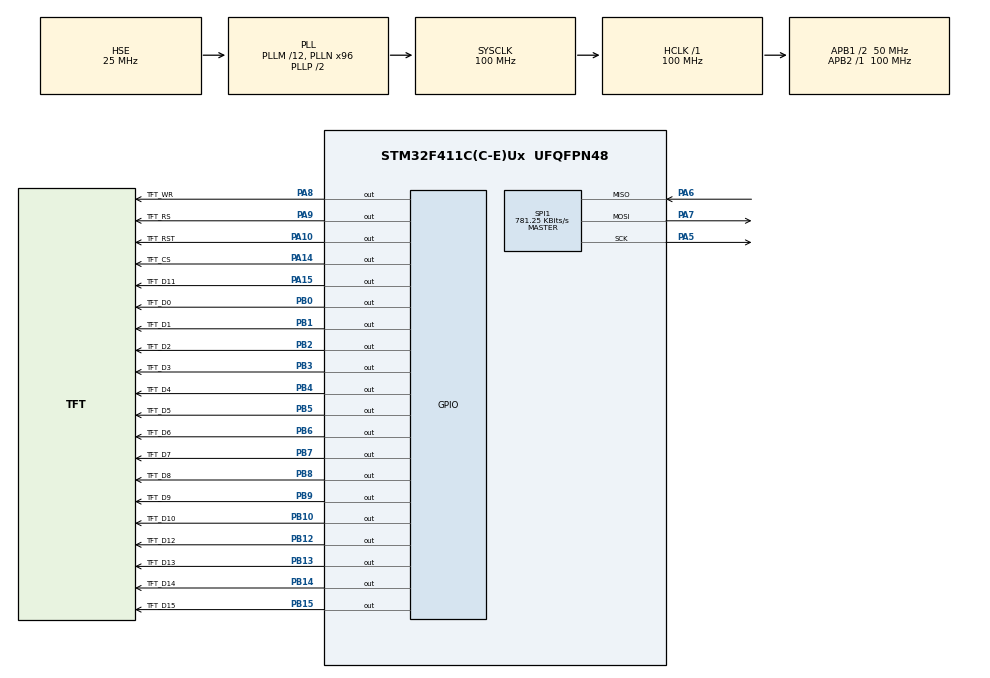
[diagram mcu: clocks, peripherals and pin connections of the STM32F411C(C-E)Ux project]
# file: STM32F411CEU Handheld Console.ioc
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Mcu.Family=STM32F4
Mcu.Name=STM32F411C(C-E)Ux
Mcu.Package=UFQFPN48
NVIC.PriorityGroup=NVIC_PRIORITYGROUP_4
PA10.GPIO_Label=TFT_RST
PA10.GPIO_PuPd=GPIO_PULLDOWN
PA10.GPIO_Speed=GPIO_SPEED_FREQ_MEDIUM
PA10.Signal=GPIO_Output
PA14.GPIO_Label=TFT_CS
PA14.GPIO_PuPd=GPIO_PULLDOWN
PA14.GPIO_Speed=GPIO_SPEED_FREQ_VERY_HIGH
PA14.Signal=GPIO_Output
PA15.GPIO_Label=TFT_D11
PA15.GPIO_PuPd=GPIO_PULLDOWN
PA15.GPIO_Speed=GPIO_SPEED_FREQ_VERY_HIGH
PA15.Signal=GPIO_Output
PA5.Mode=Full_Duplex_Master
PA5.Signal=SPI1_SCK
PA6.Mode=Full_Duplex_Master
PA6.Signal=SPI1_MISO
PA7.Mode=Full_Duplex_Master
PA7.Signal=SPI1_MOSI
PA8.GPIO_Label=TFT_WR
PA8.GPIO_PuPd=GPIO_PULLDOWN
PA8.GPIO_Speed=GPIO_SPEED_FREQ_MEDIUM
PA8.Signal=GPIO_Output
PA9.GPIO_Label=TFT_RS
PA9.GPIO_PuPd=GPIO_PULLDOWN
PA9.GPIO_Speed=GPIO_SPEED_FREQ_VERY_HIGH
PA9.Signal=GPIO_Output
PB0.GPIO_Label=TFT_D0
PB0.GPIO_PuPd=GPIO_PULLDOWN
PB0.GPIO_Speed=GPIO_SPEED_FREQ_VERY_HIGH
PB0.Signal=GPIO_Output
PB1.GPIO_Label=TFT_D1
PB1.GPIO_PuPd=GPIO_PULLDOWN
PB1.GPIO_Speed=GPIO_SPEED_FREQ_VERY_HIGH
PB1.Signal=GPIO_Output
PB10.GPIO_Label=TFT_D10
PB10.GPIO_PuPd=GPIO_PULLDOWN
PB10.GPIO_Speed=GPIO_SPEED_FREQ_VERY_HIGH
PB10.Signal=GPIO_Output
PB12.GPIO_Label=TFT_D12
PB12.GPIO_PuPd=GPIO_PULLDOWN
PB12.GPIO_Speed=GPIO_SPEED_FREQ_VERY_HIGH
PB12.Signal=GPIO_Output
PB13.GPIO_Label=TFT_D13
PB13.GPIO_PuPd=GPIO_PULLDOWN
PB13.GPIO_Speed=GPIO_SPEED_FREQ_VERY_HIGH
PB13.Signal=GPIO_Output
PB14.GPIO_Label=TFT_D14
PB14.GPIO_PuPd=GPIO_PULLDOWN
PB14.GPIO_Speed=GPIO_SPEED_FREQ_VERY_HIGH
PB14.Signal=GPIO_Output
PB15.GPIO_Label=TFT_D15
PB15.GPIO_PuPd=GPIO_PULLDOWN
PB15.GPIO_Speed=GPIO_SPEED_FREQ_VERY_HIGH
PB15.Signal=GPIO_Output
PB2.GPIO_Label=TFT_D2
PB2.GPIO_PuPd=GPIO_PULLDOWN
PB2.GPIO_Speed=GPIO_SPEED_FREQ_VERY_HIGH
PB2.Signal=GPIO_Output
PB3.GPIO_Label=TFT_D3
PB3.GPIO_PuPd=GPIO_PULLDOWN
PB3.GPIO_Speed=GPIO_SPEED_FREQ_VERY_HIGH
PB3.Signal=GPIO_Output
PB4.GPIO_Label=TFT_D4
PB4.GPIO_PuPd=GPIO_PULLDOWN
PB4.GPIO_Speed=GPIO_SPEED_FREQ_VERY_HIGH
PB4.Signal=GPIO_Output
PB5.GPIO_Label=TFT_D5
PB5.GPIO_PuPd=GPIO_PULLDOWN
PB5.GPIO_Speed=GPIO_SPEED_FREQ_VERY_HIGH
PB5.Signal=GPIO_Output
PB6.GPIO_Label=TFT_D6
PB6.GPIO_PuPd=GPIO_PULLDOWN
PB6.GPIO_Speed=GPIO_SPEED_FREQ_VERY_HIGH
PB6.Signal=GPIO_Output
PB7.GPIO_Label=TFT_D7
PB7.GPIO_PuPd=GPIO_PULLDOWN
PB7.GPIO_Speed=GPIO_SPEED_FREQ_VERY_HIGH
PB7.Signal=GPIO_Output
PB8.GPIO_Label=TFT_D8
PB8.GPIO_PuPd=GPIO_PULLDOWN
PB8.GPIO_Speed=GPIO_SPEED_FREQ_VERY_HIGH
PB8.Signal=GPIO_Output
PB9.GPIO_Label=TFT_D9
PB9.GPIO_PuPd=GPIO_PULLDOWN
PB9.GPIO_Speed=GPIO_SPEED_FREQ_VERY_HIGH
PB9.Signal=GPIO_Output
PH0\ -\ OSC_IN.Mode=HSE-External-Oscillator
PH0\ -\ OSC_IN.Signal=RCC_OSC_IN
PH1\ -\ OSC_OUT.Mode=HSE-External-Oscillator
PH1\ -\ OSC_OUT.Signal=RCC_OSC_OUT
ProjectManager.HeapSize=0x200
ProjectManager.StackSize=0x400
ProjectManager.TargetToolchain=STM32CubeIDE
RCC.48MHZClocksFreq_Value=50000000
RCC.AHBFreq_Value=100000000
RCC.APB1CLKDivider=RCC_HCLK_DIV2
RCC.APB1Freq_Value=50000000
RCC.APB1TimFreq_Value=100000000
RCC.APB2Freq_Value=100000000
RCC.APB2TimFreq_Value=100000000
RCC.CortexFreq_Value=100000000
RCC.HCLKFreq_Value=100000000
RCC.HSE_VALUE=25000000
RCC.HSI_VALUE=16000000
RCC.LSE_VALUE=32768
RCC.PLLM=12
RCC.PLLN=96
RCC.PLLSourceVirtual=RCC_PLLSOURCE_HSE
RCC.SYSCLKFreq_VALUE=100000000
RCC.SYSCLKSource=RCC_SYSCLKSOURCE_PLLCLK
RCC.VCOOutputFreq_Value=200000000
SPI1.BaudRatePrescaler=SPI_BAUDRATEPRESCALER_128
SPI1.CLKPolarity=SPI_POLARITY_LOW
SPI1.CRCCalculation=SPI_CRCCALCULATION_DISABLE
SPI1.CalculateBaudRate=781.25 KBits/s
SPI1.Direction=SPI_DIRECTION_2LINES
SPI1.FirstBit=SPI_FIRSTBIT_MSB
SPI1.Mode=SPI_MODE_MASTER
SPI1.VirtualType=VM_MASTER
VP_FATFS_VS_Generic.Mode=User_defined
board=custom

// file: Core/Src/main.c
/* USER CODE BEGIN Header */
/**
  ******************************************************************************
  * @file           : main.c
  * @brief          : Main program body
  ******************************************************************************
  * @attention
  *
  * Copyright (c) 2023 STMicroelectronics.
  * All rights reserved.
  *
  * This software is licensed under terms that can be found in the LICENSE file
  * in the root directory of this software component.
  * If no LICENSE file comes with this software, it is provided AS-IS.
  *
  ******************************************************************************
  */
/* USER CODE END Header */
#include "main.h"
#include "fatfs.h"

/* USER CODE BEGIN Includes */
#include "STM32_Handheld_Console.h"
/* USER CODE END Includes */

SPI_HandleTypeDef hspi1;

void SystemClock_Config(void);
static void MX_GPIO_Init(void);
static void MX_SPI1_Init(void);

int main(void)
{

  /* MCU Configuration--------------------------------------------------------*/

  /* Reset of all peripherals, Initializes the Flash interface and the Systick. */
  HAL_Init();

  /* Configure the system clock */
  SystemClock_Config();

  /* Initialize all configured peripherals */
  MX_GPIO_Init();
  MX_SPI1_Init();
  MX_FATFS_Init();
  /* USER CODE BEGIN 2 */
  init_display();
  clear_screen();

  /*for(uint8_t y = 0; y < DISPLAY_HEIGHT; ++y)
  {
	  for(uint8_t x = 0; x < DISPLAY_WIDTH; ++x)
	  {
		  draw_pixel(x, y, (y * DISPLAY_WIDTH + x) & 0xFF);
	  }
  }*/
  //draw_rect(20, 10, 200, 90, rgb888_to_rgb332(255, 0, 0));
  draw_rect(20, 10, 200, 90, rgb888_to_rgb332(0, 200, 0));
  //fill_rect(40, 80, 100, 75, rgb888_to_rgb332(0, 200, 0));
  fill_rect(40, 80, 100, 75, rgb888_to_rgb332(255, 0, 0));
  set_text_area(157, 5, 227, 11);
  uint8_t assault_text_color = rgb888_to_rgb332(255, 255, 28);
  set_text_color(assault_text_color, rgb888_to_rgb332(0, 0, 0));
  set_text_wrap(1);

  const char *assault_text = "POLiS SALDIRISI  ///  @@@  ///  POLiS SALDIRISI";
  //print_str("STM32F411CEU Handheld Gaming Console Print String And Text Area Test");

  update_display();

  int16_t x = 200;
  uint32_t frames = 0, frames_to_draw_display = 0, ticks = 0;

  /* USER CODE END 2 */

  /* Infinite loop */
  /* USER CODE BEGIN WHILE */
  while (1)
  {
	  //ticks = HAL_GetTick();
	  	  frames = HAL_GetTick();
	  	  clear_screen();
	  	  draw_v_line(151, 1, 3, assault_text_color);
	  	  draw_v_line(151, 13, 3, assault_text_color);
	  	  draw_v_line(227, 1, 3, assault_text_color);
	  	  draw_v_line(227, 13, 3, assault_text_color);
	  	  draw_h_line(151, 1, 3, assault_text_color);
	  	  draw_h_line(151, 15, 3, assault_text_color);
	  	  draw_h_line(225, 1, 3, assault_text_color);
	  	  draw_h_line(225, 15, 3, assault_text_color);
	  	  fill_rect(230, 1, 9, 9, assault_text_color);
	  	  draw_pixel(234, 3, 0);
	  	  draw_pixel(232, 6, 0);
	  	  draw_pixel(236, 6, 0);
	  	  draw_v_line(233, 4, 2, 0);
	  	  draw_v_line(235, 4, 2, 0);
	  	  draw_h_line(232, 7, 5, 0);
	  	  set_text_area(157, 5, 227, 11);
	  	  set_cursor(x, 5);
	  	  print_str(assault_text);

	  	  if(x < 151 - 32 * 6)
	  		  x = 151;
	  	  x -= 1;

	  	  set_text_area(0, 0, 239, 159);
	  	  print_str("TPF: ");
	  	  frames = HAL_GetTick() - frames;
	  	  print_int(frames);
	  	  print_str(" ms\nDT: ");
	  	  print_int(frames_to_draw_display);
	  	  print_str(" ms");

	  	  frames_to_draw_display = HAL_GetTick();

	  	  update_display();

	  	  frames_to_draw_display = HAL_GetTick() - frames_to_draw_display;

	  	  //while(HAL_GetTick() <= ticks + 50);
    /* USER CODE END WHILE */

  }
}

void SystemClock_Config(void)
{
  RCC_OscInitTypeDef RCC_OscInitStruct = {0};
  RCC_ClkInitTypeDef RCC_ClkInitStruct = {0};

  /** Configure the main internal regulator output voltage
  */
  __HAL_RCC_PWR_CLK_ENABLE();
  __HAL_PWR_VOLTAGESCALING_CONFIG(PWR_REGULATOR_VOLTAGE_SCALE1);

  /** Initializes the RCC Oscillators according to the specified parameters
  * in the RCC_OscInitTypeDef structure.
  */
  RCC_OscInitStruct.OscillatorType = RCC_OSCILLATORTYPE_HSE;
  RCC_OscInitStruct.HSEState = RCC_HSE_ON;
  RCC_OscInitStruct.PLL.PLLState = RCC_PLL_ON;
  RCC_OscInitStruct.PLL.PLLSource = RCC_PLLSOURCE_HSE;
  RCC_OscInitStruct.PLL.PLLM = 12;
  RCC_OscInitStruct.PLL.PLLN = 96;
  RCC_OscInitStruct.PLL.PLLP = RCC_PLLP_DIV2;
  RCC_OscInitStruct.PLL.PLLQ = 4;
  if (HAL_RCC_OscConfig(&RCC_OscInitStruct) != HAL_OK)
  {
    Error_Handler();
  }

  /** Initializes the CPU, AHB and APB buses clocks
  */
  RCC_ClkInitStruct.ClockType = RCC_CLOCKTYPE_HCLK|RCC_CLOCKTYPE_SYSCLK
                              |RCC_CLOCKTYPE_PCLK1|RCC_CLOCKTYPE_PCLK2;
  RCC_ClkInitStruct.SYSCLKSource = RCC_SYSCLKSOURCE_PLLCLK;
  RCC_ClkInitStruct.AHBCLKDivider = RCC_SYSCLK_DIV1;
  RCC_ClkInitStruct.APB1CLKDivider = RCC_HCLK_DIV2;
  RCC_ClkInitStruct.APB2CLKDivider = RCC_HCLK_DIV1;

  if (HAL_RCC_ClockConfig(&RCC_ClkInitStruct, FLASH_LATENCY_3) != HAL_OK)
  {
    Error_Handler();
  }
}

static void MX_SPI1_Init(void)
{

  /* SPI1 parameter configuration*/
  hspi1.Instance = SPI1;
  hspi1.Init.Mode = SPI_MODE_MASTER;
  hspi1.Init.Direction = SPI_DIRECTION_2LINES;
  hspi1.Init.DataSize = SPI_DATASIZE_8BIT;
  hspi1.Init.CLKPolarity = SPI_POLARITY_LOW;
  hspi1.Init.CLKPhase = SPI_PHASE_1EDGE;
  hspi1.Init.NSS = SPI_NSS_SOFT;
  hspi1.Init.BaudRatePrescaler = SPI_BAUDRATEPRESCALER_128;
  hspi1.Init.FirstBit = SPI_FIRSTBIT_MSB;
  hspi1.Init.TIMode = SPI_TIMODE_DISABLE;
  hspi1.Init.CRCCalculation = SPI_CRCCALCULATION_DISABLE;
  hspi1.Init.CRCPolynomial = 10;
  if (HAL_SPI_Init(&hspi1) != HAL_OK)
  {
    Error_Handler();
  }

}

static void MX_GPIO_Init(void)
{
  GPIO_InitTypeDef GPIO_InitStruct = {0};

  /* GPIO Ports Clock Enable */
  __HAL_RCC_GPIOH_CLK_ENABLE();
  __HAL_RCC_GPIOA_CLK_ENABLE();
  __HAL_RCC_GPIOB_CLK_ENABLE();

  /*Configure GPIO pin Output Level */
  HAL_GPIO_WritePin(GPIOB, TFT_D0_Pin|TFT_D1_Pin|TFT_D2_Pin|TFT_D10_Pin
                          |TFT_D12_Pin|TFT_D13_Pin|TFT_D14_Pin|TFT_D15_Pin
                          |TFT_D3_Pin|TFT_D4_Pin|TFT_D5_Pin|TFT_D6_Pin
                          |TFT_D7_Pin|TFT_D8_Pin|TFT_D9_Pin, GPIO_PIN_RESET);

  /*Configure GPIO pin Output Level */
  HAL_GPIO_WritePin(GPIOA, TFT_WR_Pin|TFT_RS_Pin|TFT_RST_Pin|TFT_CS_Pin, GPIO_PIN_RESET);

  /*Configure GPIO pins : TFT_D0_Pin TFT_D1_Pin TFT_D2_Pin TFT_D10_Pin
                           TFT_D12_Pin TFT_D13_Pin TFT_D14_Pin TFT_D15_Pin
                           TFT_D3_Pin TFT_D4_Pin TFT_D5_Pin TFT_D6_Pin
                           TFT_D7_Pin TFT_D8_Pin TFT_D9_Pin */
  GPIO_InitStruct.Pin = TFT_D0_Pin|TFT_D1_Pin|TFT_D2_Pin|TFT_D10_Pin
                          |TFT_D12_Pin|TFT_D13_Pin|TFT_D14_Pin|TFT_D15_Pin
                          |TFT_D3_Pin|TFT_D4_Pin|TFT_D5_Pin|TFT_D6_Pin
                          |TFT_D7_Pin|TFT_D8_Pin|TFT_D9_Pin;
  GPIO_InitStruct.Mode = GPIO_MODE_OUTPUT_PP;
  GPIO_InitStruct.Pull = GPIO_PULLDOWN;
  GPIO_InitStruct.Speed = GPIO_SPEED_FREQ_VERY_HIGH;
  HAL_GPIO_Init(GPIOB, &GPIO_InitStruct);

  /*Configure GPIO pins : TFT_WR_Pin TFT_RS_Pin TFT_RST_Pin TFT_CS_Pin */
  GPIO_InitStruct.Pin = TFT_WR_Pin|TFT_RS_Pin|TFT_RST_Pin|TFT_CS_Pin;
  GPIO_InitStruct.Mode = GPIO_MODE_OUTPUT_PP;
  GPIO_InitStruct.Pull = GPIO_PULLDOWN;
  GPIO_InitStruct.Speed = GPIO_SPEED_FREQ_VERY_HIGH;
  HAL_GPIO_Init(GPIOA, &GPIO_InitStruct);

}

void Error_Handler(void)
{
  __disable_irq();
  while (1)
  {
  }
}
